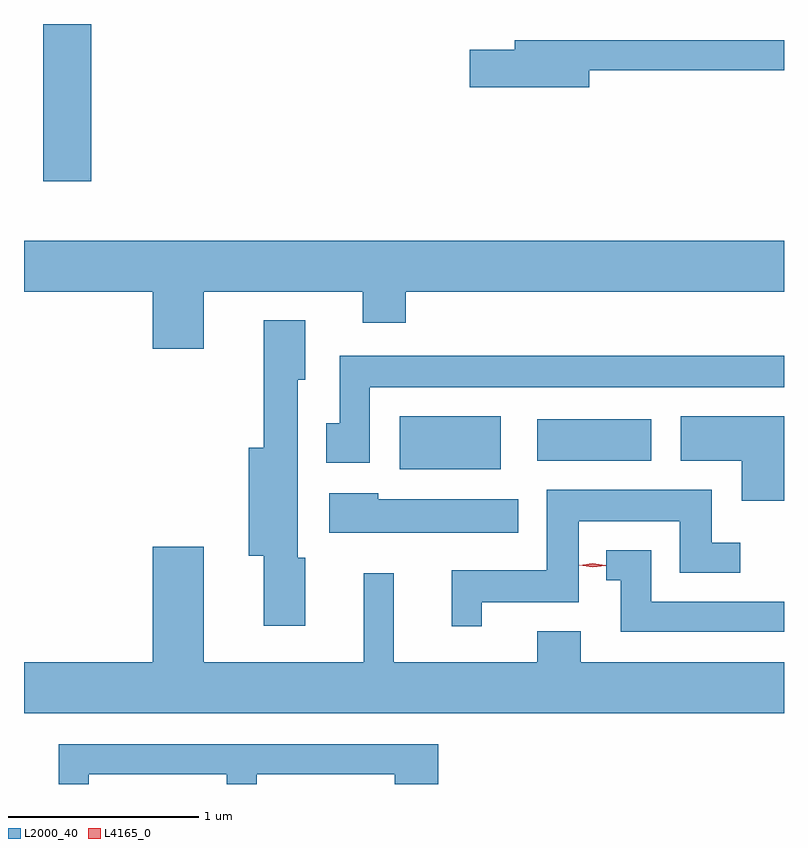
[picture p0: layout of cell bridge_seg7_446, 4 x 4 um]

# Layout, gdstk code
import gdstk
lib = gdstk.Library(unit=1e-6, precision=1e-09)
def R(c, l, rs):  # rectangles x0, y0, x1, y1
    for r in rs: c.add(gdstk.rectangle(r[:2], r[2:], *l))
def P(c, l, *ps):  # polygons
    for p in ps: c.add(gdstk.Polygon(p, *l))
L2000_40 = (2000, 40)
L4165_0 = (4165, 0)

bridge_seg7_446 = lib.new_cell('bridge_seg7_446')
R(bridge_seg7_446, L2000_40, [(1075.516,1684.521,1076.049,1684.799), (1076.241,1684.566,1076.839,1684.784), (1073.641,1686.036,1073.894,1686.864)])
P(bridge_seg7_446, L2000_40, [(1076.514,1686.621),(1077.539,1686.621),(1077.539,1686.779),(1076.121,1686.779),(1076.121,1686.729),(1075.886,1686.729),(1075.886,1686.531),(1076.514,1686.531)],
  [(1074.484,1685.456),(1075.321,1685.456),(1075.321,1685.291),(1075.549,1685.291),(1075.549,1685.456),(1077.539,1685.456),(1077.539,1685.724),(1073.539,1685.724),(1073.539,1685.456),(1074.216,1685.456),(1074.216,1685.156),(1074.484,1685.156)],
  [(1075.019,1684.054),(1074.979,1684.054),(1074.979,1684.991),(1075.019,1684.991),(1075.019,1685.304),(1074.801,1685.304),(1074.801,1684.634),(1074.721,1684.634),(1074.721,1684.066),(1074.801,1684.066),(1074.801,1683.696),(1075.019,1683.696)],
  [(1075.359,1684.951),(1077.539,1684.951),(1077.539,1685.119),(1075.201,1685.119),(1075.201,1684.764),(1075.131,1684.764),(1075.131,1684.556),(1075.359,1684.556)],
  [(1077.539,1684.799),(1076.996,1684.799),(1076.996,1684.566),(1077.316,1684.566),(1077.316,1684.356),(1077.539,1684.356)],
  [(1075.949,1683.821),(1076.459,1683.821),(1076.459,1684.246),(1076.991,1684.246),(1076.991,1683.976),(1077.308,1683.976),(1077.308,1684.134),(1077.159,1684.134),(1077.159,1684.414),(1076.291,1684.414),(1076.291,1683.989),(1075.791,1683.989),(1075.791,1683.693),(1075.949,1683.693)],
  [(1076.139,1684.364),(1075.404,1684.364),(1075.404,1684.394),(1075.146,1684.394),(1075.146,1684.186),(1076.139,1684.186)],
  [(1077.539,1683.504),(1076.469,1683.504),(1076.469,1683.669),(1076.241,1683.669),(1076.241,1683.504),(1075.484,1683.504),(1075.484,1683.973),(1075.326,1683.973),(1075.326,1683.504),(1074.484,1683.504),(1074.484,1684.114),(1074.216,1684.114),(1074.216,1683.504),(1073.539,1683.504),(1073.539,1683.236),(1077.539,1683.236)],
  [(1077.539,1683.824),(1076.839,1683.824),(1076.839,1684.094),(1076.603,1684.094),(1076.603,1683.936),(1076.681,1683.936),(1076.681,1683.666),(1077.539,1683.666)],
  [(1073.879,1682.916),(1074.606,1682.916),(1074.606,1682.864),(1074.764,1682.864),(1074.764,1682.916),(1075.491,1682.916),(1075.491,1682.864),(1075.719,1682.864),(1075.719,1683.074),(1073.721,1683.074),(1073.721,1682.864),(1073.879,1682.864)])
P(bridge_seg7_446, L4165_0, [(1076.532,1684.005),(1076.462,1684.015),(1076.462,1684.016),(1076.462,1684.016),(1076.532,1684.025),(1076.601,1684.015),(1076.601,1684.015),(1076.601,1684.014)])

lib.write_gds('bridge_seg7_446.gds')
